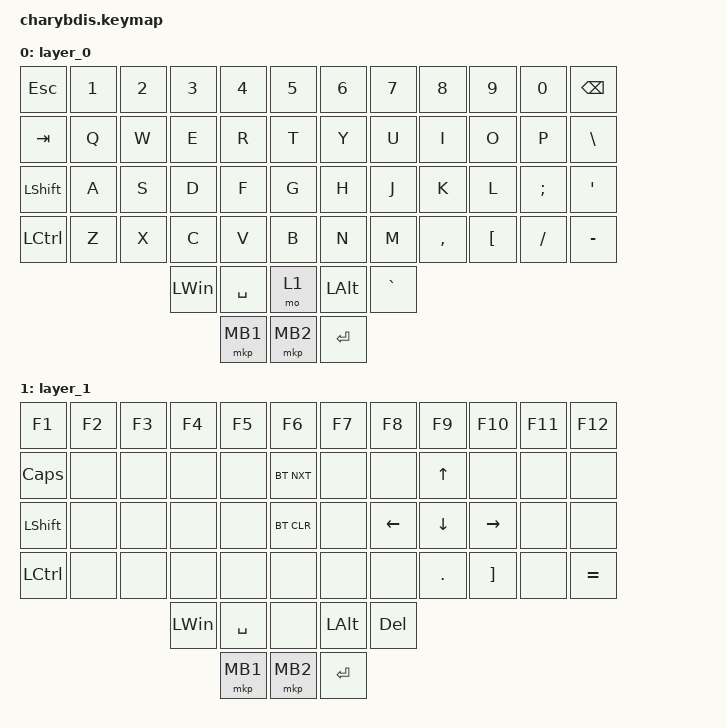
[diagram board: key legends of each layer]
#include <dt-bindings/zmk/mouse.h>
#include <behaviors.dtsi>
#include <dt-bindings/zmk/bt.h>
#include <dt-bindings/zmk/keys.h>
#include <dt-bindings/zmk/pointing.h>

&lt {
    tapping-term-ms = <200>;
    flavor = "balanced";
    quick-tap-ms = <150>;
};

/ {
    keymap {
        compatible = "zmk,keymap";

        layer_0 {
            bindings = <
&kp ESC         &kp N1  &kp N2  &kp N3        &kp N4     &kp N5      &kp N6     &kp N7     &kp N8     &kp N9            &kp N0    &kp BACKSPACE
&kp TAB         &kp Q   &kp W   &kp E         &kp R      &kp T       &kp Y      &kp U      &kp I      &kp O             &kp P     &kp BSLH
&kp LEFT_SHIFT  &kp A   &kp S   &kp D         &kp F      &kp G       &kp H      &kp J      &kp K      &kp L             &kp SEMI  &kp SQT
&kp LCTRL       &kp Z   &kp X   &kp C         &kp V      &kp B       &kp N      &kp M      &kp COMMA  &kp LEFT_BRACKET  &kp FSLH  &kp MINUS
                                &kp LEFT_WIN  &kp SPACE  &mo 1       &kp LALT   &kp GRAVE
                                              &mkp MB1   &mkp MB2    &kp ENTER
            >;

            trackball-bindings = <&tmv_coarse>;
        };

        layer_1 {
            bindings = <
&kp F1          &kp F2  &kp F3  &kp F4        &kp F5     &kp F6        &kp F7     &kp F8      &kp F9      &kp F10            &kp F11  &kp F12
&kp CAPS        &none   &none   &none         &none      &bt BT_NXT    &none      &none       &kp UP      &none              &none    &none
&kp LEFT_SHIFT  &none   &none   &none         &none      &bt BT_CLR    &none      &kp LEFT    &kp DOWN    &kp RIGHT          &none    &none
&kp LCTRL       &none   &none   &none         &none      &none         &none      &none       &kp PERIOD  &kp RIGHT_BRACKET  &none    &kp EQUAL
                                &kp LEFT_WIN  &kp SPACE  &none         &kp LALT   &kp DELETE
                                              &mkp MB1   &mkp MB2      &kp ENTER
            >;

            trackball-bindings = <&tsl>;
        };
    };
};
